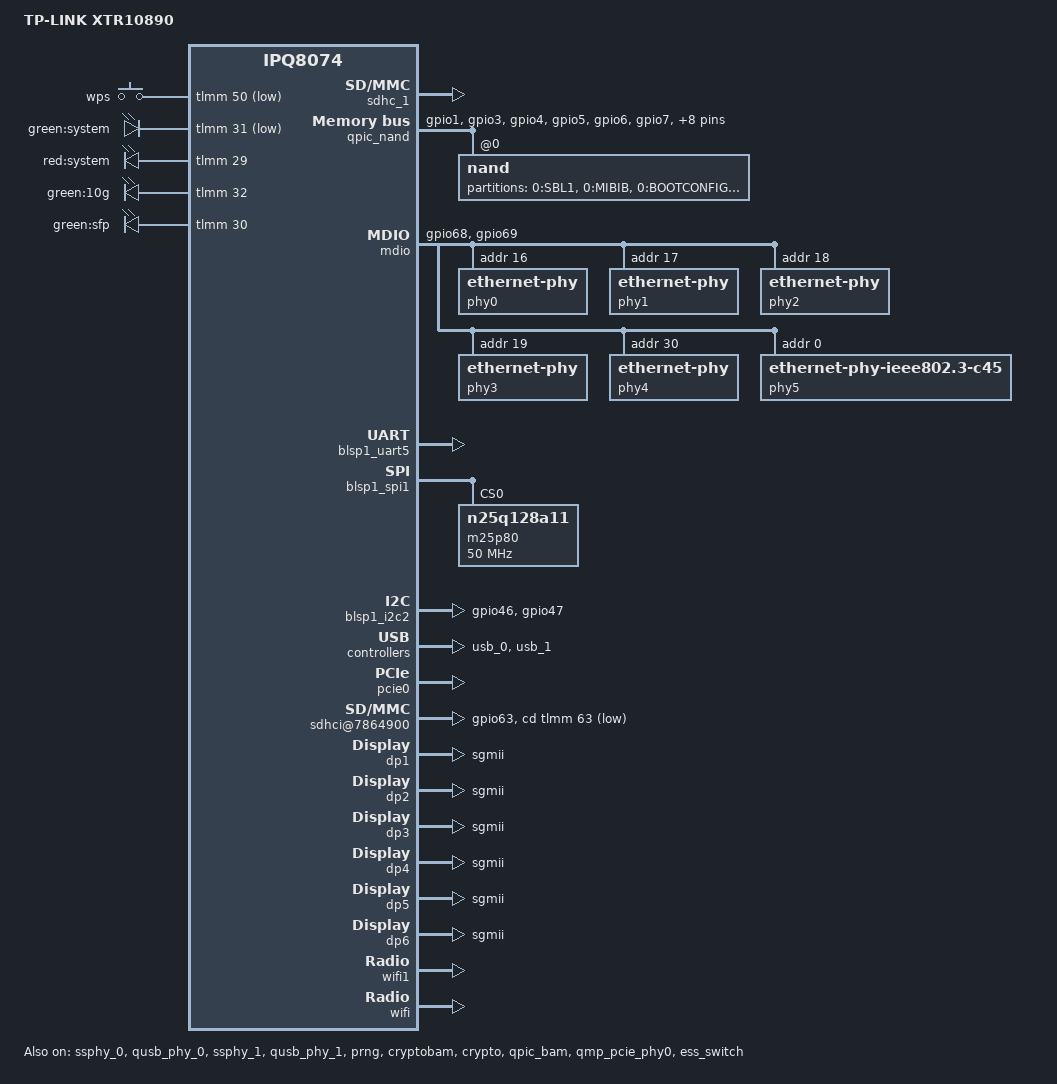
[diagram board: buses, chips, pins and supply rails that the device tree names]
// SPDX-License-Identifier: GPL-2.0-only
/dts-v1/;
/* Copyright (c) 2017, 2020-2021, The Linux Foundation. All rights reserved.
 */
#include "ipq8074.dtsi"
#include "ipq8074-hk-cpu.dtsi"
#include "ipq8074-ac-nss.dtsi"
#include <dt-bindings/gpio/gpio.h>
#include <dt-bindings/input/input.h>
#include <dt-bindings/leds/common.h>

/ {
	#address-cells = <0x2>;
	#size-cells = <0x2>;
	model = "TP-LINK XTR10890";
	compatible = "tplink,xtr10890", "qcom,ipq8074";
	interrupt-parent = <&intc>;
	//qcom,msm-id = <0x143 0x0>, <0x186 0x0>, <0x158 0x0>, <0x188 0x0>;

	aliases {
		serial0 = &blsp1_uart5;
		serial1 = &blsp1_uart3;
		/*
		 * Aliases as required by u-boot
		 * to patch MAC addresses
		 */
		led-boot = &led_system_red;
		led-failsafe = &led_system_green;
		led-running = &led_system_red;
		led-upgrade = &led_system_green;
		ethernet0 = &dp1;
		ethernet1 = &dp2;
		ethernet2 = &dp3;
		ethernet3 = &dp4;
		ethernet4 = &dp5;
		ethernet5 = &dp6;
	};

	chosen {
		stdout-path = "serial0";
		bootargs-append = " root=/dev/ubiblock0_1 rootfstype=squashfs";
	};

	reserved-memory {
		
		/delete-node/ wifi_dump@51100000;
		/delete-node/ wigig_dump@51300000;
		qcn9000_pcie0: qcn9000_pcie0@51100000 {
			no-map;
			reg = <0x0 0x51100000 0x0 0x03500000>;
		};

		mhi_region0: dma_pool0@54600000 {
			compatible = "shared-dma-pool";
			no-map;
			reg = <0x0 0x54600000 0x0 0x00900000>;
		};

	};


	keys {
		compatible = "gpio-keys";
		pinctrl-0 = <&button_pins>;
		pinctrl-names = "default";
		status = "okay";
			button@1 {
			label = "wps";
			linux,code = <KEY_WPS_BUTTON>;
			gpios = <&tlmm 50 GPIO_ACTIVE_LOW>;
			linux,input-type = <1>;
			debounce-interval = <60>;
		};
	};

	leds {
		compatible = "gpio-leds";
		led_system_green: system-green {
			label = "green:system";
			gpios = <&tlmm 31 GPIO_ACTIVE_LOW>;
		};
		led_system_red: system-red {
			label = "red:system";
			gpios = <&tlmm 29 GPIO_ACTIVE_HIGH>;
		};

		10g-green {
			label = "green:10g";
			gpios = <&tlmm 32 GPIO_ACTIVE_HIGH>;
		};

		sfp_green {
			label = "green:sfp";
			gpios = <&tlmm 30 GPIO_ACTIVE_HIGH>;
		};
	};

};

&sdhc_1 {
	status = "okay";
};


&qpic_nand {
	pinctrl-0 = <&qpic_pins>;
	pinctrl-names = "default";
	status = "okay";
	nand@0 {
		reg = <0>;
		#address-cells = <1>;
		#size-cells = <1>;
		nand-ecc-strength = <4>;
		nand-ecc-step-size = <512>;
		nand-bus-width = <8>;

		partition0@0 {
			label = "0:SBL1";
			reg = <0x0 0x80000>;
			read-only;
		};
		partition1@80000 {
			label = "0:MIBIB";
			reg = <0x80000 0x40000>;
		};

		partition2@c0000 {
			label = "0:BOOTCONFIG";
			reg = <0xc0000 0x20000>;
			read-only;
		};
		partition3@e0000 {
			label = "0:BOOTCONFIG1";
			reg = <0xe0000 0x20000>;
			read-only;
		};

		partition4@100000 {
			label = "0:QSEE";
			reg = <0x100000 0x280000>;
			read-only;
		};

		partition4@380000 {
			label = "0:DEVCFG";
			reg = <0x380000 0x20000>;
			read-only;
		};

		partition4@3a0000 {
			label = "0:RPM";
			reg = <0x3a0000 0x40000>;
			read-only;
		};

		partition5@3e0000 {
			label = "0:CDT";
			reg = <0x3e0000 0x20000>;
			read-only;
		};

		partition6@400000 {
			label = "0:APPSBLENV";
			reg = <0x400000 0x40000>;
		};

		partition7@440000 {
			label = "0:APPSBL";
			reg = <0x440000 0x100000>;
		};

		partition8@540000 {
			label = "0:ART";
			reg = <0x540000 0x80000>;
		};

		partition12@5c0000 {
			label = "rootfs";
			reg = <0x5c0000 0x7000000>;
		};

		partition13@75c0000 {
			label = "0:WIFIFW";
			reg = <0x75c0000 0x900000>;
		};

		partition15@7ec0000 {
			label = "0:ETHPHYFW";
			reg = <0x7ec0000 0x80000>;
		};
	};
};


&mdio{
	status = "okay";

	pinctrl-0 = <&mdio_pins>;
	pinctrl-names = "default";
	phy-reset-gpio = <&tlmm 37 0>;
	phy0: ethernet-phy@0 {
		reg = <16>;
	};
	phy1: ethernet-phy@1 {
		reg = <17>;
	};
	phy2: ethernet-phy@2 {
		reg = <18>;
	};
	phy3: ethernet-phy@3 {
		reg = <19>;
	};
	phy4: ethernet-phy@4 {
		reg = <30>;
	};
	phy5: ethernet-phy@5 {
		compatible ="ethernet-phy-ieee802.3-c45";
		reg = <0>;
	};
};

&tlmm {
	sd_pins: sd-pinmux {
		pins = "gpio63";
		function = "sd_card";
		drive-strength = <8>;
		bias-pull-up;
	};

	button_pins: button_pins {
		wps_button {
			pins = "gpio50";
			function = "gpio";
			drive-strength = <8>;
			bias-pull-up;
		};
	};

	leds_pins: leds_pinmux {
		led_pwr_green {
			pins = "gpio31";
			function = "gpio";
			drive-strength = <8>;
			bias-pull-down;
		};

		led_pwr_red {
			pins = "gpio29";
			function = "gpio";
			drive-strength = <8>;
			bias-pull-down;
		};

		led_sfp_green {
			pins = "gpio30";
			function = "gpio";
			drive-strength = <8>;
			bias-pull-down;
		};

		led_10g_green {
			pins = "gpio32";
			function = "gpio";
			drive-strength = <8>;
			bias-pull-down;
		};
	};

	mdio_pins: mdio_pinmux {
		mux_0 {
			pins = "gpio68";
			function = "mdc";
			drive-strength = <8>;
			bias-pull-up;
		};
		mux_1 {
			pins = "gpio69";
			function = "mdio";
			drive-strength = <8>;
			bias-pull-up;
		};
	};

	qpic_pins: qpic-pins {
		pins = "gpio1", "gpio3", "gpio4",
		       "gpio5", "gpio6", "gpio7",
		       "gpio8", "gpio10", "gpio11",
		       "gpio12", "gpio13", "gpio14",
		       "gpio15", "gpio17";
		function = "qpic";
		drive-strength = <8>;
		bias-disable;
	};

	uniphy_pins: uniphy_pinmux {
		mux {
			pins = "gpio60";
			function = "rx2";
			bias-disable;
		};

		sfp_tx {
			pins = "gpio52";
			function = "gpio";
			drive-strength = <8>;
			bias-pull-down;
			output-low;
		};
	};

	i2c_0_pins: i2c-0-pinmux {
		pins = "gpio46", "gpio47";
		function = "blsp1_i2c";
		drive-strength = <8>;
		bias-disable;
	};

	pwm_pins: pwm_pinmux {
		mux_1 {
			pins = "gpio25";
			function = "pwm02";
			drive-strength = <8>;
		};
	};

	pcie0_pins: pcie_pins {
		pcie0_rst {
			pins = "gpio58";
			function = "pcie0_rst";
			drive-strength = <8>;
			bias-pull-down;
		};
		pcie0_wake {
			pins = "gpio59";
			function = "pcie0_wake";
			drive-strength = <8>;
			bias-pull-down;
		};
	};
};

&blsp1_uart5 {
	status = "okay";
};

&blsp1_spi1 {
	status = "okay";
	pinctrl-0 = <&spi_0_pins>;
	pinctrl-names = "default";
	cs-select = <0>;

	m25p80@0 {
		  compatible = "n25q128a11";
		  #address-cells = <1>;
		  #size-cells = <1>;
		  reg = <0>;
		  spi-max-frequency = <50000000>;
	};
};

&blsp1_i2c2 {
	pinctrl-0 = <&i2c_0_pins>;
	pinctrl-names = "default";
	status = "okay";
};

&ssphy_0 {
	status = "okay";
};

&qusb_phy_0 {
	status = "okay";
};

&ssphy_1 {
	status = "okay";
};

&qusb_phy_1 {
	status = "okay";
};

&usb_0 {
	status = "okay";
};

&usb_1 {
	status = "okay";
};

&prng {
	status = "okay";
};

&cryptobam {
	status = "okay";
};

&crypto {
	status = "okay";
};

&qpic_bam {
	status = "okay";
};

&qmp_pcie_phy0 {
	status = "okay";
};

&pcie0 {
	perst-gpio = <&tlmm 58 1>;
	status = "okay";

	pcie0_rp {
		status = "ok";

		mhi_0: qcom,mhi@0 {
			reg = <0 0 0 0 0 >;
			qrtr_instance_id = <0x20>;
			#address-cells = <0x2>;
			#size-cells = <0x2>;
			memory-region = <&mhi_region0>;
			// base-addr = <0x51100000>;
			// m3-dump-addr = <0x53400000>;
			// etr-addr = <0x53500000>;
			// qcom,caldb-addr = <0x53600000>;
			// mhi,max-channels = <30>;
			// mhi,timeout = <10000>;
			// qcom,board_id= <0xa4>;

			// pcie0_mhi: pcie0_mhi {
			// 		status = "ok";
			// };
		};
	};

};

&qmp_pcie_phy1 {
	//status = "okay";
	status = "disabled";
};

&pcie1 {
	perst-gpio = <&tlmm 61 0x1>;
	status = "disabled";
};

&ess_switch {
	status = "okay";
	pinctrl-0 = <&uniphy_pins>;
	pinctrl-names = "default";
	switch_cpu_bmp = <0x1>;  /* cpu port bitmap */
	switch_lan_bmp = <0x3e>; /* lan port bitmap */
	switch_wan_bmp = <0x40>; /* wan port bitmap */
	switch_mac_mode = <0x0b>; /* mac mode for uniphy instance0*/
	switch_mac_mode1 = <0x0e>; /* mac mode for uniphy instance1*/
	switch_mac_mode2 = <0x0d>; /* mac mode for uniphy instance2*/
	bm_tick_mode = <0>; /* bm tick mode */
	tm_tick_mode = <0>; /* tm tick mode */
	qcom,port_phyinfo {
		port@0 {
			port_id = <1>;
			phy_address = <16>;
		};
		port@1 {
			port_id = <2>;
			phy_address = <17>;
		};
		port@2 {
			port_id = <3>;
			phy_address = <18>;
		};
		port@3 {
			port_id = <4>;
			phy_address = <19>;
		};
		port@4 {
			port_id = <5>;
			phy_address = <30>;
			phy_i2c_address = <30>;
			phy-i2c-mode; /*i2c access phy */
			media-type = "sfp"; /* fiber mode */
		};
		port@5 {
			port_id = <6>;
			phy_address = <0>;
			ethernet-phy-ieee802.3-c45;
		};
	};
	port_scheduler_resource {

		port@0 {
			port_id = < 0x00 >;
			ucast_queue = < 0x00 0x8f >;
			mcast_queue = < 0x100 0x10f >;
			l0sp = < 0x00 0x23 >;
			l0cdrr = < 0x00 0x2f >;
			l0edrr = < 0x00 0x2f >;
			l1cdrr = < 0x00 0x07 >;
			l1edrr = < 0x00 0x07 >;
		};

		port@1 {
			port_id = < 0x01 >;
			ucast_queue = < 0x90 0x9f >;
			mcast_queue = < 0x110 0x113 >;
			l0sp = < 0x24 0x27 >;
			l0cdrr = < 0x30 0x3f >;
			l0edrr = < 0x30 0x3f >;
			l1cdrr = < 0x08 0x0b >;
			l1edrr = < 0x08 0x0b >;
		};

		port@2 {
			port_id = < 0x02 >;
			ucast_queue = < 0xa0 0xaf >;
			mcast_queue = < 0x114 0x117 >;
			l0sp = < 0x28 0x2b >;
			l0cdrr = < 0x40 0x4f >;
			l0edrr = < 0x40 0x4f >;
			l1cdrr = < 0x0c 0x0f >;
			l1edrr = < 0x0c 0x0f >;
		};

		port@3 {
			port_id = < 0x03 >;
			ucast_queue = < 0xb0 0xbf >;
			mcast_queue = < 0x118 0x11b >;
			l0sp = < 0x2c 0x2f >;
			l0cdrr = < 0x50 0x5f >;
			l0edrr = < 0x50 0x5f >;
			l1cdrr = < 0x10 0x13 >;
			l1edrr = < 0x10 0x13 >;
		};

		port@4 {
			port_id = < 0x04 >;
			ucast_queue = < 0xc0 0xcf >;
			mcast_queue = < 0x11c 0x11f >;
			l0sp = < 0x30 0x33 >;
			l0cdrr = < 0x60 0x6f >;
			l0edrr = < 0x60 0x6f >;
			l1cdrr = < 0x14 0x17 >;
			l1edrr = < 0x14 0x17 >;
		};

		port@5 {
			port_id = < 0x05 >;
			ucast_queue = < 0xd0 0xdf >;
			mcast_queue = < 0x120 0x123 >;
			l0sp = < 0x34 0x37 >;
			l0cdrr = < 0x70 0x7f >;
			l0edrr = < 0x70 0x7f >;
			l1cdrr = < 0x18 0x1b >;
			l1edrr = < 0x18 0x1b >;
		};

		port@6 {
			port_id = < 0x06 >;
			ucast_queue = < 0xe0 0xef >;
			mcast_queue = < 0x124 0x127 >;
			l0sp = < 0x38 0x3b >;
			l0cdrr = < 0x80 0x8f >;
			l0edrr = < 0x80 0x8f >;
			l1cdrr = < 0x1c 0x1f >;
			l1edrr = < 0x1c 0x1f >;
		};

		port@7 {
			port_id = < 0x07 >;
			ucast_queue = < 0xf0 0xff >;
			mcast_queue = < 0x128 0x12b >;
			l0sp = < 0x3c 0x3f >;
			l0cdrr = < 0x90 0x9f >;
			l0edrr = < 0x90 0x9f >;
			l1cdrr = < 0x20 0x23 >;
			l1edrr = < 0x20 0x23 >;
		};
	};

	port_scheduler_config {

		port@0 {
			port_id = < 0x00 >;

			l1scheduler {

				group@0 {
					sp = < 0x00 0x01 >;
					cfg = < 0x00 0x00 0x00 0x00 >;
				};
			};

			l0scheduler {

				group@0 {
					ucast_queue = < 0x00 0x04 0x08 >;
					mcast_queue = < 0x100 0x104 >;
					cfg = < 0x00 0x00 0x00 0x00 0x00 >;
				};

				group@1 {
					ucast_queue = < 0x01 0x05 0x09 >;
					mcast_queue = < 0x101 0x105 >;
					cfg = < 0x00 0x01 0x01 0x01 0x01 >;
				};

				group@2 {
					ucast_queue = < 0x02 0x06 0x0a >;
					mcast_queue = < 0x102 0x106 >;
					cfg = < 0x00 0x02 0x02 0x02 0x02 >;
				};

				group@3 {
					ucast_queue = < 0x03 0x07 0x0b >;
					mcast_queue = < 0x103 0x107 >;
					cfg = < 0x00 0x03 0x03 0x03 0x03 >;
				};
			};
		};

		port@1 {
			port_id = < 0x01 >;

			l1scheduler {

				group@0 {
					sp = < 0x24 >;
					cfg = < 0x00 0x08 0x00 0x08 >;
				};

				group@1 {
					sp = < 0x25 >;
					cfg = < 0x01 0x09 0x01 0x09 >;
				};
			};

			l0scheduler {

				group@0 {
					ucast_queue = < 0x90 >;
					ucast_loop_pri = < 0x10 >;
					mcast_queue = < 0x110 >;
					mcast_loop_pri = < 0x04 >;
					cfg = < 0x24 0x00 0x30 0x00 0x30 >;
				};
			};
		};

		port@2 {
			port_id = < 0x02 >;

			l1scheduler {

				group@0 {
					sp = < 0x28 >;
					cfg = < 0x00 0x0c 0x00 0x0c >;
				};

				group@1 {
					sp = < 0x29 >;
					cfg = < 0x01 0x0d 0x01 0x0d >;
				};
			};

			l0scheduler {

				group@0 {
					ucast_queue = < 0xa0 >;
					ucast_loop_pri = < 0x10 >;
					mcast_queue = < 0x114 >;
					mcast_loop_pri = < 0x04 >;
					cfg = < 0x28 0x00 0x40 0x00 0x40 >;
				};
			};
		};

		port@3 {
			port_id = < 0x03 >;

			l1scheduler {

				group@0 {
					sp = < 0x2c >;
					cfg = < 0x00 0x10 0x00 0x10 >;
				};

				group@1 {
					sp = < 0x2d >;
					cfg = < 0x01 0x11 0x01 0x11 >;
				};
			};

			l0scheduler {

				group@0 {
					ucast_queue = < 0xb0 >;
					ucast_loop_pri = < 0x10 >;
					mcast_queue = < 0x118 >;
					mcast_loop_pri = < 0x04 >;
					cfg = < 0x2c 0x00 0x50 0x00 0x50 >;
				};
			};
		};

		port@4 {
			port_id = < 0x04 >;

			l1scheduler {

				group@0 {
					sp = < 0x30 >;
					cfg = < 0x00 0x14 0x00 0x14 >;
				};

				group@1 {
					sp = < 0x31 >;
					cfg = < 0x01 0x15 0x01 0x15 >;
				};
			};

			l0scheduler {

				group@0 {
					ucast_queue = < 0xc0 >;
					ucast_loop_pri = < 0x10 >;
					mcast_queue = < 0x11c >;
					mcast_loop_pri = < 0x04 >;
					cfg = < 0x30 0x00 0x60 0x00 0x60 >;
				};
			};
		};

		port@5 {
			port_id = < 0x05 >;

			l1scheduler {

				group@0 {
					sp = < 0x34 >;
					cfg = < 0x00 0x18 0x00 0x18 >;
				};

				group@1 {
					sp = < 0x35 >;
					cfg = < 0x01 0x19 0x01 0x19 >;
				};
			};

			l0scheduler {

				group@0 {
					ucast_queue = < 0xd0 >;
					ucast_loop_pri = < 0x10 >;
					mcast_queue = < 0x120 >;
					mcast_loop_pri = < 0x04 >;
					cfg = < 0x34 0x00 0x70 0x00 0x70 >;
				};
			};
		};

		port@6 {
			port_id = < 0x06 >;

			l1scheduler {

				group@0 {
					sp = < 0x38 >;
					cfg = < 0x00 0x1c 0x00 0x1c >;
				};

				group@1 {
					sp = < 0x39 >;
					cfg = < 0x01 0x1d 0x01 0x1d >;
				};
			};

			l0scheduler {

				group@0 {
					ucast_queue = < 0xe0 >;
					ucast_loop_pri = < 0x10 >;
					mcast_queue = < 0x124 >;
					mcast_loop_pri = < 0x04 >;
					cfg = < 0x38 0x00 0x80 0x00 0x80 >;
				};
			};
		};

		port@7 {
			port_id = < 0x07 >;

			l1scheduler {

				group@0 {
					sp = < 0x3c >;
					cfg = < 0x00 0x20 0x00 0x20 >;
				};

				group@1 {
					sp = < 0x3d >;
					cfg = < 0x01 0x21 0x01 0x21 >;
				};
			};

			l0scheduler {

				group@0 {
					ucast_queue = < 0xf0 >;
					ucast_loop_pri = < 0x10 >;
					mcast_queue = < 0x128 >;
					cfg = < 0x3c 0x00 0x90 0x00 0x90 >;
				};
			};
		};
	};
};


&soc {

		phy@86000 {
			status = "okay";
		};
		
		sd-pwrseq {
			status = "okay";
		};

		sdhci@7864900 {
			pinctrl-0 = <&sd_pins>;
			pinctrl-names = "default";
			cd-gpios = <&tlmm 63 GPIO_ACTIVE_LOW>;
			status = "okay";
		};

		pwm {
			pinctrl-0 = <&pwm_pins>;
			pinctrl-names = "default";
			used-pwm-indices = <1>, <0>, <0>, <0>;
			status = "disabled";
		};

		// qcom,test@0 {
		// 	status = "okay";
		// };


		dp1: dp1 {
			device_type = "network";
			compatible = "qcom,nss-dp";
			qcom,id = <1>;
			reg = <0x3a001000 0x200>;
			qcom,mactype = <0>;
			local-mac-address = [000000000000];
			qcom,link-poll = <1>;
			qcom,phy-mdio-addr = <16>;
			phy-mode = "sgmii";
			mdio-bus = <&mdio>;
		};

		dp2: dp2 {
			device_type = "network";
			compatible = "qcom,nss-dp";
			qcom,id = <2>;
			reg = <0x3a001200 0x200>;
			qcom,mactype = <0>;
			local-mac-address = [000000000000];
			qcom,link-poll = <1>;
			qcom,phy-mdio-addr = <17>;
			phy-mode = "sgmii";
			mdio-bus = <&mdio>;
		};

		dp3: dp3 {
			device_type = "network";
			compatible = "qcom,nss-dp";
			qcom,id = <3>;
			reg = <0x3a001400 0x200>;
			qcom,mactype = <0>;
			local-mac-address = [000000000000];
			qcom,link-poll = <1>;
			qcom,phy-mdio-addr = <18>;
			phy-mode = "sgmii";
			mdio-bus = <&mdio>;
		};

		dp4: dp4 {
			device_type = "network";
			compatible = "qcom,nss-dp";
			qcom,id = <4>;
			reg = <0x3a001600 0x200>;
			qcom,mactype = <0>;
			local-mac-address = [000000000000];
			qcom,link-poll = <1>;
			qcom,phy-mdio-addr = <19>;
			phy-mode = "sgmii";
			mdio-bus = <&mdio>;
		};

		dp5: dp5 {
			device_type = "network";
			compatible = "qcom,nss-dp";
			qcom,id = <5>;
			reg = <0x3a003000 0x3fff>;
			qcom,mactype = <1>;
			local-mac-address = [000000000000];
			qcom,link-poll = <1>;
			qcom,phy-mdio-addr = <30>;
			phy-mode = "sgmii";
			mdio-bus = <&mdio>;
		};

		dp6: dp6 {
			device_type = "network";
			compatible = "qcom,nss-dp";
			qcom,id = <6>;
			reg = <0x3a007000 0x3fff>;
			qcom,mactype = <1>;
			local-mac-address = [000000000000];
			qcom,link-poll = <1>;
			qcom,phy-mdio-addr = <0>;
			phy-mode = "sgmii";
			mdio-bus = <&mdio>;
		};
		
		// qcn9000_pcie0: qcn9000_pcie0@51100000 {
		// 	no-map;
		// 	reg = <0x0 0x51100000 0x0 0x02D00000>;
		// };

		wifi1: wifi1@f00000 {

			compatible  = "qcom,cnss-qcn9000";
			qcom,wlan-ramdump-dynamic = <0x400000>;
			mhi,max-channels = <30>;
			mhi,timeout = <10000>;
			qrtr_node_id = <0x20>;
			qca,auto-restart;

			pcie0_mhi: pcie0_mhi {
				status = "ok";
			};

		};
};

&wifi {
	status = "okay";
	qcom,board_id = <528>;
	qcom,ath11k-calibration-variant = "TL-XTR10890";
};

&wifi1 {
	base-addr = <0x51100000>;
	m3-dump-addr = <0x53400000>;
	etr-addr = <0x53500000>;
	caldb-addr = <0x53600000>;
	hremote-size = <0x2300000>;
	tgt-mem-mode = <0x0>;
	caldb-size = <0x800000>;
	hremote_node = <&qcn9000_pcie0>;
	pageable-size = <0x800000>;
	board_id = <171>;
	qcom,ath11k-calibration-variant = "TL-XTR10890";
	status = "ok";
};
